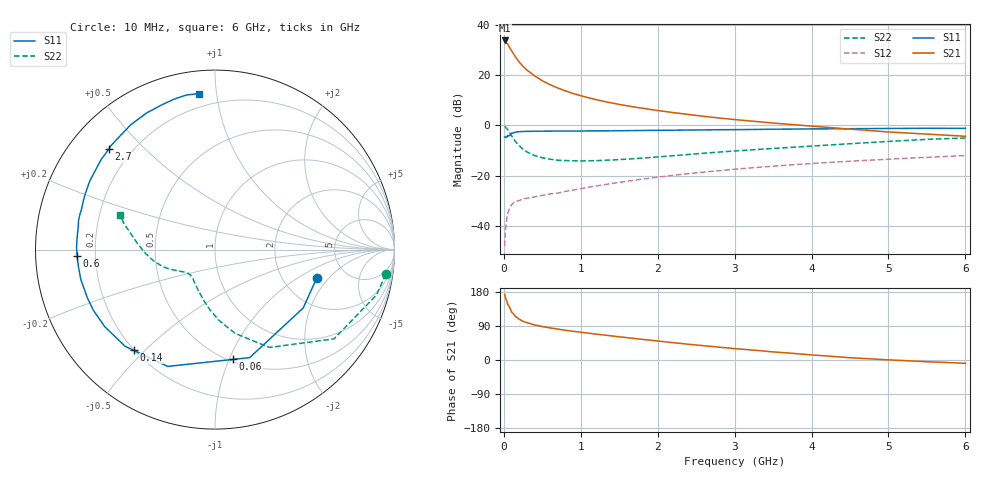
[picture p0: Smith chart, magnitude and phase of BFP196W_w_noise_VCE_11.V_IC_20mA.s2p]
! (c) 2017  Infineon Technologies AG, Munich
! Infineon Technologies  Discrete & RF Semiconductors
! BFP196W
! VCE =  11. V,  IC =  20 mA
! Common Emitter S-Parameters:  Jan 2017
# GHz  S  MA  R  50
!  f  S11  S21  S12  S22
! GHz  MAG  ANG  MAG  ANG  MAG  ANG  MAG  ANG
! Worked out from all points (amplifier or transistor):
!   77 points, 10 MHz to 6 GHz, reference 50 ohm
!   highest |S21| = 33.7 dB at 10 MHz (marker M1)
!   |S21| within 3 dB of that: start of sweep to 79.15 MHz
!   unconditionally stable (mu >= 1): 1.046 GHz to 3.196 GHz
!   at 130 MHz: K = 0.24, MSG = 29.4 dB, |S12| = -30.7 dB
!   at 2.2 GHz: K = 1.06, MAG = 10.9 dB, |S12| = -19.8 dB
!   at 6 GHz: K = 0.89, MSG = 3.8 dB, |S12| = -12.0 dB
!   lowest NFmin = 1.02 dB at 450 MHz
!   S11 on the Smith chart (normalised r, x): 10 MHz: 3.06, -1.50; 60 MHz: 0.52, -1.04; 140 MHz: 0.20, -0.46; 600 MHz: 0.13, -0.02; 2.7 GHz: 0.12, +0.39; 6 GHz: 0.12, +0.90
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0.01  0.5883 -15.8  48.48 173.3  0.004 76.2  0.9614 -8.2
0.02  0.5893 -33.5  46.92 165.6  0.008 72.7  0.9342 -15.8
0.05  0.6321 -72.2  41.13 147.2  0.0179 58.8  0.8287 -36.9
0.06  0.62 -80.6  38.66 144.0  0.0196 55.2  0.7786 -40.6
0.1  0.7024 -112.1  30.4 126.7  0.0267 45.5  0.6239 -60.9
0.14  0.7215 -128.9  24.32 118.0  0.0302 38.7  0.5051 -72.7
0.15  0.7356 -132.9  22.92 115.1  0.0311 37.3  0.4798 -76.5
0.2  0.7495 -145.1  18.06 107.5  0.0321 34.8  0.3942 -86.9
0.25  0.7573 -153.5  14.81 102.1  0.0348 33.2  0.336 -94.9
0.3  0.7602 -159.4  12.5 98.4  0.0358 33.2  0.2977 -101.1
0.4  0.766 -167.5  9.561 92.5  0.038 34.4  0.2516 -110.8
0.5  0.7669 -173.0  7.686 88.3  0.0408 36.3  0.2271 -117.7
0.6  0.769 -177.3  6.438 84.7  0.0435 39.3  0.2132 -123.2
0.8  0.7711 175.9  4.843 78.5  0.049 44.8  0.2002 -130.0
1.1  0.7772 168.1  3.535 70.8  0.0591 48.6  0.1986 -136.5
1.5  0.7828 159.3  2.604 61.3  0.0735 52.0  0.2094 -142.9
2.1  0.7987 147.1  1.881 48.0  0.0978 53.0  0.2426 -151.1
2.7  0.815 136.7  1.455 35.8  0.1222 51.2  0.2876 -159.0
3.1  0.8248 130.1  1.263 28.5  0.1385 49.3  0.3176 -164.4
4.1  0.8519 115.4  0.939 12.0  0.1786 43.2  0.3962 -178.5
5.1  0.8698 104.2  0.725 -0.6  0.2168 36.1  0.489 167.9
6  0.8734 95.7  0.607 -8.7  0.2512 29.2  0.5615 160.0
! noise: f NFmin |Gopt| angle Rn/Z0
0.45  1.02  0.4  170  0.05
0.9  1.2  0.51  178  0.05
1.9  2.11  0.69  -155  0.11
2.4  2.55  0.74  -147  0.2
